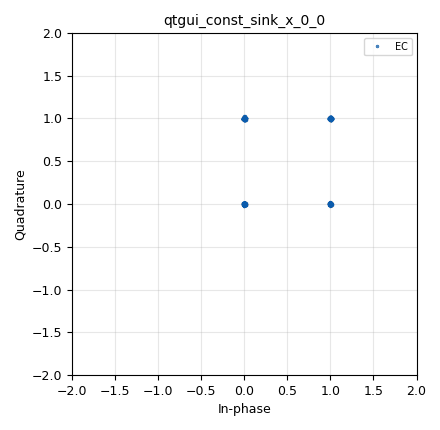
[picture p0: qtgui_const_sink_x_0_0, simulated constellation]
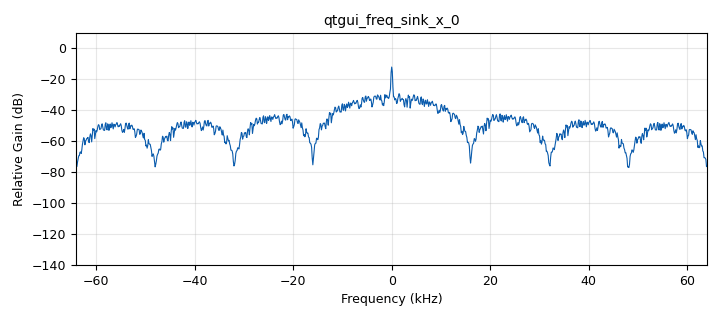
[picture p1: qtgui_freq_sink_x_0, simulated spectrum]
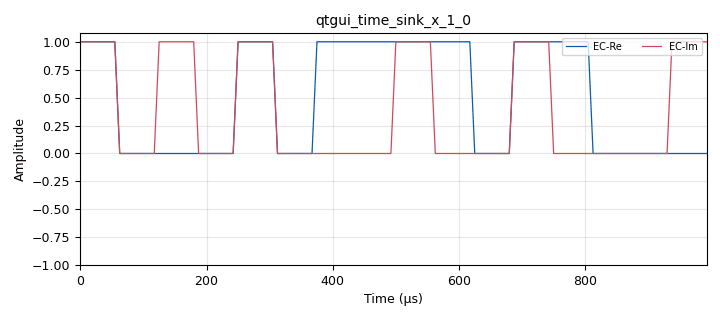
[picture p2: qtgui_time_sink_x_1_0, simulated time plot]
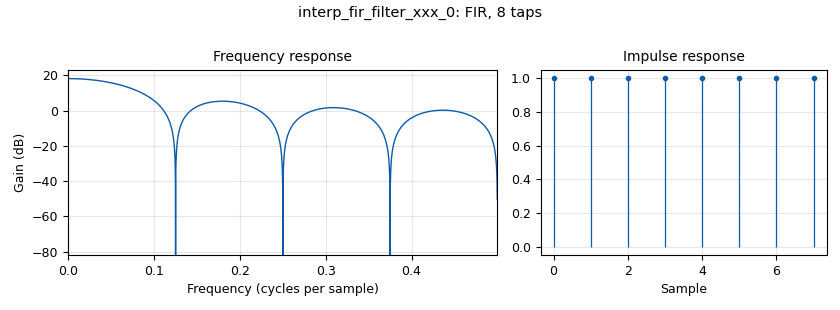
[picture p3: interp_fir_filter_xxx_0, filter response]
options:
  parameters:
    author: Jeanpaull Valencia
    description: Diseño de una modulación 8-PSK
    generate_options: qt_gui
    id: LABIV
    output_language: python
    title: Laboratorio de 8PSK
  states: {}

blocks:
- name: Constelacion
  id: variable
  parameters:
    value: (0, 0+1j, 1+0j, 1+1j)
  states: {}
- name: M
  id: variable
  parameters:
    value: '4'
  states: {}
- name: Nbps
  id: variable
  parameters:
    value: int(math.log(M,2))
  states: {}
- name: Rb
  id: variable
  parameters:
    value: '32000'
  states: {}
- name: Rs
  id: variable
  parameters:
    value: Rb/Nbps
  states: {}
- name: Sps
  id: variable
  parameters:
    value: len(h)
  states: {}
- name: h
  id: variable
  parameters:
    value: (1.,1.,1.,1.,1.,1.,1.,1.)
  states: {}
- name: samp_rate
  id: variable
  parameters:
    value: Rs*Sps
  states: {}
- name: analog_noise_source_x_1
  id: analog_noise_source_x
  parameters:
    amp: '0.01'
    noise_type: analog.GR_GAUSSIAN
    seed: '0'
    type: complex
  states: {}
- name: analog_random_source_x_0
  id: analog_random_source_x
  parameters:
    max: '2'
    min: '0'
    num_samps: '1000'
    repeat: 'True'
    type: byte
  states: {}
- name: blocks_add_xx_0
  id: blocks_add_xx
  parameters:
    type: complex
  states: {}
- name: blocks_char_to_float_0
  id: blocks_char_to_float
  parameters:
    scale: '1'
  states: {state: disabled}
- name: blocks_char_to_float_0_0
  id: blocks_char_to_float
  parameters:
    scale: '1'
  states: {state: disabled}
- name: blocks_null_sink_0
  id: blocks_null_sink
  parameters:
    type: complex
  states: {}
- name: blocks_repack_bits_bb_0
  id: blocks_repack_bits_bb
  parameters:
    endianness: gr.GR_LSB_FIRST
    k: '1'
    l: Nbps
  states: {}
- name: blocks_throttle_0
  id: blocks_throttle
  parameters:
    samples_per_second: samp_rate
    type: complex
  states: {}
- name: blocks_vector_source_x_0
  id: blocks_vector_source_x
  parameters:
    repeat: 'True'
    type: byte
    vector: (0, 0, 0, 0, 0, 1, 0, 1, 1, 0, 1, 0, 1, 1, 0, 1, 1, 1, 1, 0, 1, 1, 0, 0)
  states: {state: disabled}
- name: digital_chunks_to_symbols_xx_0
  id: digital_chunks_to_symbols_xx
  parameters:
    dimension: '1'
    in_type: byte
    out_type: complex
    symbol_table: Constelacion
  states: {}
- name: import_0
  id: import
  parameters:
    imports: import math
  states: {}
- name: interp_fir_filter_xxx_0
  id: interp_fir_filter_xxx
  parameters:
    interp: Sps
    taps: h
    type: ccc
  states: {}
- name: qtgui_const_sink_x_0
  id: qtgui_const_sink_x
  parameters:
    label1: EC
    size: '1024'
    type: complex
  states: {state: disabled}
- name: qtgui_const_sink_x_0_0
  id: qtgui_const_sink_x
  parameters:
    label1: EC
    size: '1024'
    type: complex
  states: {}
- name: qtgui_freq_sink_x_0
  id: qtgui_freq_sink_x
  parameters:
    average: '0.05'
    bw: samp_rate
    fc: '0'
    fftsize: '1024'
    type: complex
  states: {}
- name: qtgui_time_sink_x_0
  id: qtgui_time_sink_x
  parameters:
    label1: Random Signal
    size: '32'
    srate: Rb
    stemplot: 'True'
    type: float
    width1: '2'
  states: {state: disabled}
- name: qtgui_time_sink_x_0_0
  id: qtgui_time_sink_x
  parameters:
    label1: Packed signal
    size: int(32/Nbps)
    srate: Rb
    stemplot: 'True'
    type: float
    width1: '2'
  states: {state: disabled}
- name: qtgui_time_sink_x_0_1
  id: qtgui_time_sink_x
  parameters:
    label1: M-PAM
    size: '32'
    srate: Rb
    stemplot: 'True'
    type: float
    width1: '2'
  states: {state: disabled}
- name: qtgui_time_sink_x_1_0
  id: qtgui_time_sink_x
  parameters:
    color1: dark red
    label1: EC-Re
    label2: EC-Im
    size: int(32*Sps/Nbps)
    srate: samp_rate
    type: complex
  states: {}
- name: qtgui_time_sink_x_1_0_0
  id: qtgui_time_sink_x
  parameters:
    color1: red
    color2: blue
    label1: EC-Re
    label2: EC-Im
    size: '512'
    srate: samp_rate
    type: complex
  states: {state: disabled}
- name: qtgui_time_sink_x_1_0_1
  id: qtgui_time_sink_x
  parameters:
    color1: dark red
    label1: EC-Re
    label2: EC-Im
    size: int(32*Sps/Nbps)
    srate: samp_rate
    type: complex
  states: {state: disabled}
- name: qtgui_time_sink_x_1_0_1_0
  id: qtgui_time_sink_x
  parameters:
    color1: dark red
    label1: EC-Re
    label2: EC-Im
    size: int(32*Sps/Nbps)
    srate: samp_rate
    type: complex
  states: {state: disabled}
- name: virtual_sink_0
  id: virtual_sink
  parameters:
    stream_id: OUT
  states: {}
- name: virtual_sink_1
  id: virtual_sink
  parameters:
    stream_id: D8PSK
  states: {}
- name: virtual_source_0
  id: virtual_source
  parameters:
    stream_id: OUT
  states: {}
- name: virtual_source_0_0
  id: virtual_source
  parameters:
    stream_id: D8PSK
  states: {}

connections:
- [analog_noise_source_x_1, '0', blocks_add_xx_0, '0']
- [analog_noise_source_x_1, '0', qtgui_time_sink_x_1_0_0, '0']
- [analog_random_source_x_0, '0', blocks_repack_bits_bb_0, '0']
- [blocks_add_xx_0, '0', blocks_null_sink_0, '0']
- [blocks_add_xx_0, '0', qtgui_const_sink_x_0_0, '0']
- [blocks_add_xx_0, '0', qtgui_freq_sink_x_0, '0']
- [blocks_add_xx_0, '0', qtgui_time_sink_x_1_0_1_0, '0']
- [blocks_char_to_float_0, '0', qtgui_time_sink_x_0, '0']
- [blocks_char_to_float_0_0, '0', qtgui_time_sink_x_0_0, '0']
- [blocks_repack_bits_bb_0, '0', blocks_char_to_float_0_0, '0']
- [blocks_repack_bits_bb_0, '0', virtual_sink_0, '0']
- [blocks_throttle_0, '0', blocks_add_xx_0, '1']
- [blocks_vector_source_x_0, '0', blocks_repack_bits_bb_0, '0']
- [digital_chunks_to_symbols_xx_0, '0', virtual_sink_1, '0']
- [interp_fir_filter_xxx_0, '0', blocks_throttle_0, '0']
- [interp_fir_filter_xxx_0, '0', qtgui_time_sink_x_1_0, '0']
- [virtual_source_0, '0', digital_chunks_to_symbols_xx_0, '0']
- [virtual_source_0_0, '0', interp_fir_filter_xxx_0, '0']
- [virtual_source_0_0, '0', qtgui_const_sink_x_0, '0']

metadata:
  file_format: 1
